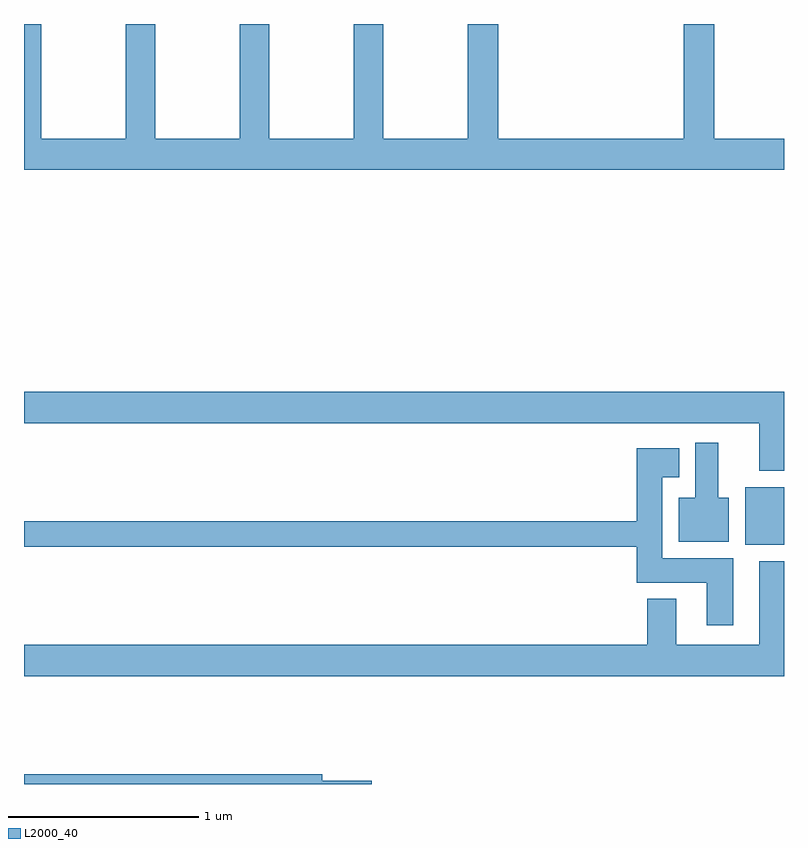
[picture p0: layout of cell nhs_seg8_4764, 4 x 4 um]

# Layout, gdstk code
import gdstk
lib = gdstk.Library(unit=1e-6, precision=1e-09)
def R(c, l, rs):  # rectangles x0, y0, x1, y1
    for r in rs: c.add(gdstk.rectangle(r[:2], r[2:], *l))
def P(c, l, *ps):  # polygons
    for p in ps: c.add(gdstk.Polygon(p, *l))
L2000_40 = (2000, 40)

nhs_seg8_4764 = lib.new_cell('nhs_seg8_4764')
R(nhs_seg8_4764, L2000_40, [(402.797,1149.158,403,1149.463)])
P(nhs_seg8_4764, L2000_40, [(399.535,1151.296),(399.09,1151.296),(399.09,1151.9),(399,1151.9),(399,1151.132),(403,1151.132),(403,1151.296),(402.633,1151.296),(402.633,1151.9),(402.473,1151.9),(402.473,1151.296),(401.495,1151.296),(401.495,1151.9),(401.335,1151.9),(401.335,1151.296),(400.89,1151.296),(400.89,1151.9),(400.735,1151.9),(400.735,1151.296),(400.29,1151.296),(400.29,1151.9),(400.135,1151.9),(400.135,1151.296),(399.69,1151.296),(399.69,1151.9),(399.535,1151.9)],
  [(403,1149.964),(399,1149.964),(399,1149.8),(402.869,1149.8),(402.869,1149.548),(403,1149.548)],
  [(402.709,1149.406),(402.655,1149.406),(402.655,1149.697),(402.533,1149.697),(402.533,1149.406),(402.446,1149.406),(402.446,1149.176),(402.709,1149.176)],
  [(402.733,1149.088),(402.358,1149.088),(402.358,1149.515),(402.448,1149.515),(402.448,1149.667),(402.224,1149.667),(402.224,1149.284),(399,1149.284),(399,1149.148),(402.224,1149.148),(402.224,1148.96),(402.593,1148.96),(402.593,1148.736),(402.733,1148.736)],
  [(403,1149.073),(402.869,1149.073),(402.869,1148.632),(402.433,1148.632),(402.433,1148.875),(402.281,1148.875),(402.281,1148.632),(399,1148.632),(399,1148.468),(403,1148.468)],
  [(400.831,1147.916),(400.57,1147.916),(400.57,1147.952),(399,1147.952),(399,1147.9),(400.831,1147.9)])

lib.write_gds('nhs_seg8_4764.gds')
